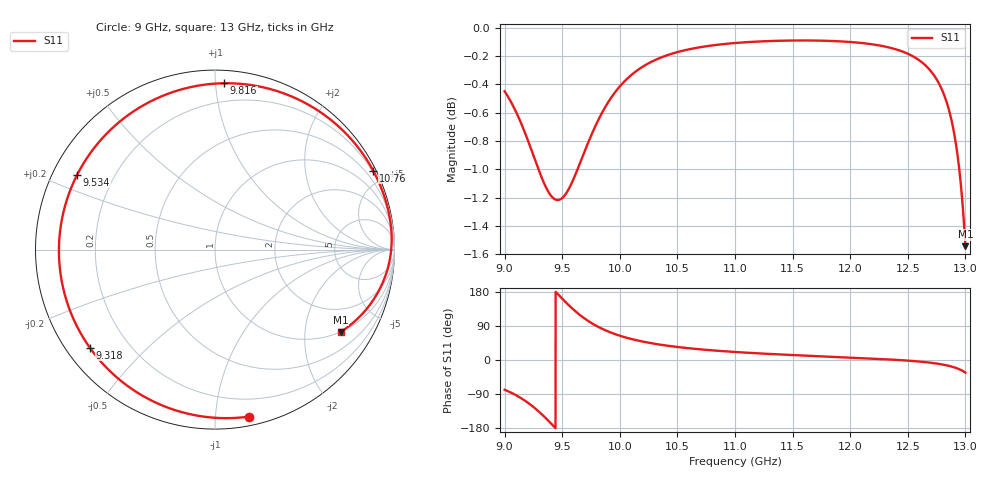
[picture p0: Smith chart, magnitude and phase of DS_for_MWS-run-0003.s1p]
! TOUCHSTONE file generated by CST DESIGN STUDIO
! Date and time: Tue Feb  4 18:23:04 2025
! Project name: C:\Work\MatlabApps\UnitCellOptimizationMatlab\CST\unitcell.cst
! Tree item: Tasks\Sweep1\SPara1\S-Parameters
! Header version: 2024
! Port assignment regex: !\s*Touchstone port\s*([0-9]+)\s*=\s*(CST MWS port|CST DES external port|CST DES block port)\s*(.+)\s* \(\"(.*)\"\)(\s*mode\s*([0-9]+))?.*
! Touchstone port assignment:
! Touchstone port 1 = CST DES external port 1 ("")
# GHz S MA R 50
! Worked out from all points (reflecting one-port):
!   4001 points, 9 GHz to 13 GHz, reference 50 ohm
!   lowest |S11| = -1.5 dB at 13 GHz (marker M1), VSWR 11.29, Z = 49.8 - j153 ohm
!   phase of S11 starts at -78 deg and turns -315 deg over the sweep
!   S11 on the Smith chart (normalised r, x): 9 GHz: 0.06, -1.22; 9.318 GHz: 0.07, -0.34; 9.534 GHz: 0.07, +0.25; 9.816 GHz: 0.08, +1.05; 10.76 GHz: 0.14, +4.24; 13 GHz: 1.00, -3.05
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9  0.9495 -78.5
9.099  0.9338 -92.9
9.178  0.9178 -107.6
9.249  0.9015 -123.7
9.318  0.886 -141.9
9.367  0.8769 -156.3
9.412  0.8714 -170.3
9.456  0.8692 175.7
9.5  0.8706 161.8
9.534  0.8739 151.4
9.6  0.8845 132.5
9.665  0.8979 116.1
9.735  0.9127 101.2
9.816  0.9281 86.9
9.905  0.942 74.5
10  0.9533 64.1
10.102  0.9623 55.3
10.216  0.9697 47.6
10.5  0.9803 34.4
10.76  0.9851 26.5
11  0.9875 21.2
11.5  0.9895 13.1
12  0.9884 6.5
12.5  0.979 -1.6
12.693  0.966 -7.0
12.836  0.9415 -14.0
12.925  0.9057 -21.7
13  0.8372 -33.2
